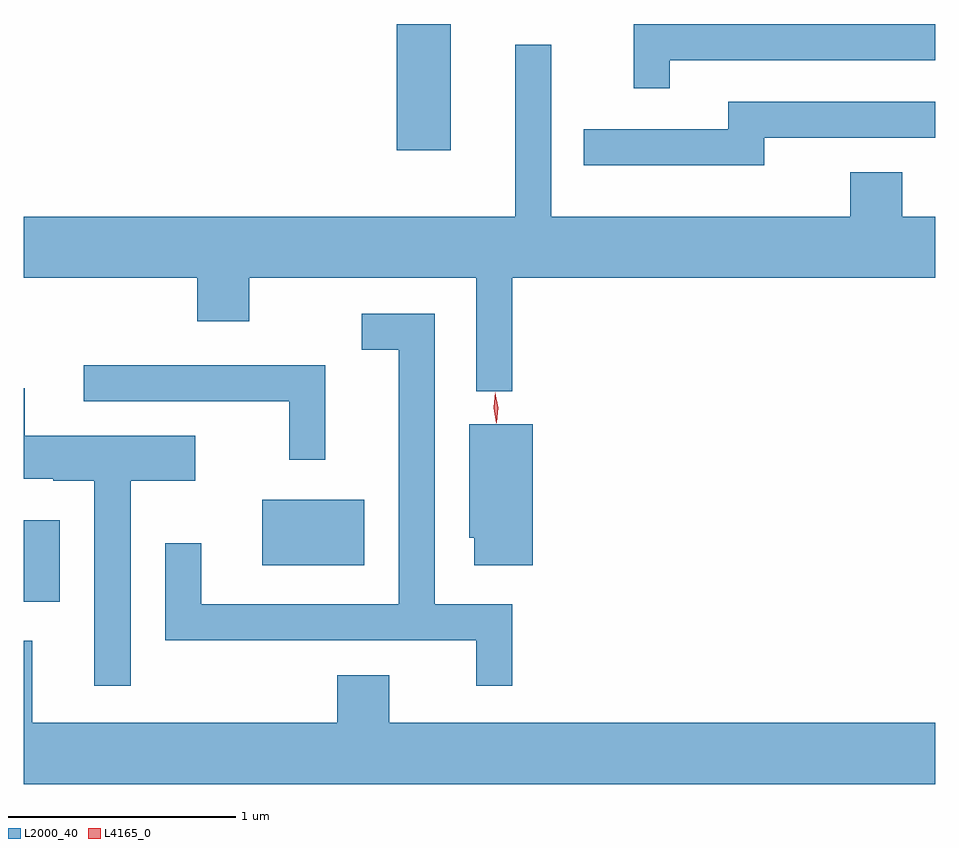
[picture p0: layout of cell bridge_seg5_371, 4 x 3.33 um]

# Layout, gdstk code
import gdstk
lib = gdstk.Library(unit=1e-6, precision=1e-09)
def R(c, l, rs):  # rectangles x0, y0, x1, y1
    for r in rs: c.add(gdstk.rectangle(r[:2], r[2:], *l))
def P(c, l, *ps):  # polygons
    for p in ps: c.add(gdstk.Polygon(p, *l))
L2000_40 = (2000, 40)
L4165_0 = (4165, 0)

bridge_seg5_371 = lib.new_cell('bridge_seg5_371')
R(bridge_seg5_371, L2000_40, [(529.27,1473.136,529.429,1473.494), (530.316,1473.296,530.764,1473.584), (530.906,1475.116,531.144,1475.67)])
P(bridge_seg5_371, L2000_40, [(532.104,1475.511),(533.27,1475.511),(533.27,1475.669),(532.104,1475.669),(532.104,1475.67),(531.946,1475.67),(531.946,1475.388),(532.104,1475.388)],
  [(531.414,1474.556),(533.27,1474.556),(533.27,1474.824),(533.124,1474.824),(533.124,1475.019),(532.896,1475.019),(532.896,1474.824),(531.584,1474.824),(531.584,1475.578),(531.426,1475.578),(531.426,1474.824),(529.27,1474.824),(529.27,1474.556),(530.031,1474.556),(530.031,1474.366),(530.259,1474.366),(530.259,1474.556),(531.256,1474.556),(531.256,1474.058),(531.414,1474.058)],
  [(532.519,1475.171),(533.27,1475.171),(533.27,1475.329),(532.361,1475.329),(532.361,1475.209),(531.728,1475.209),(531.728,1475.051),(532.519,1475.051)],
  [(531.414,1473.124),(531.074,1473.124),(531.074,1474.399),(530.753,1474.399),(530.753,1474.241),(530.916,1474.241),(530.916,1473.124),(530.049,1473.124),(530.049,1473.393),(529.891,1473.393),(529.891,1472.966),(531.256,1472.966),(531.256,1472.768),(531.414,1472.768)],
  [(530.594,1474.174),(529.533,1474.174),(529.533,1474.016),(530.436,1474.016),(530.436,1473.758),(530.594,1473.758)],
  [(529.739,1473.666),(530.024,1473.666),(530.024,1473.864),(529.274,1473.864),(529.274,1474.073),(529.27,1474.073),(529.27,1473.676),(529.4,1473.676),(529.4,1473.666),(529.581,1473.666),(529.581,1472.768),(529.739,1472.768)],
  [(531.504,1473.914),(531.226,1473.914),(531.226,1473.416),(531.246,1473.416),(531.246,1473.296),(531.504,1473.296)],
  [(533.27,1472.604),(530.874,1472.604),(530.874,1472.814),(530.646,1472.814),(530.646,1472.604),(529.309,1472.604),(529.309,1472.964),(529.27,1472.964),(529.27,1472.336),(533.27,1472.336)])
P(bridge_seg5_371, L4165_0, [(531.344,1473.918),(531.344,1473.918),(531.332,1473.986),(531.338,1474.055),(531.339,1474.055),(531.339,1474.055),(531.351,1473.987),(531.344,1473.918)],
  [(531.345,1473.92),(531.344,1473.921),(531.332,1473.986),(531.338,1474.051),(531.339,1474.052),(531.339,1474.051),(531.352,1473.987),(531.346,1473.921)])

lib.write_gds('bridge_seg5_371.gds')
